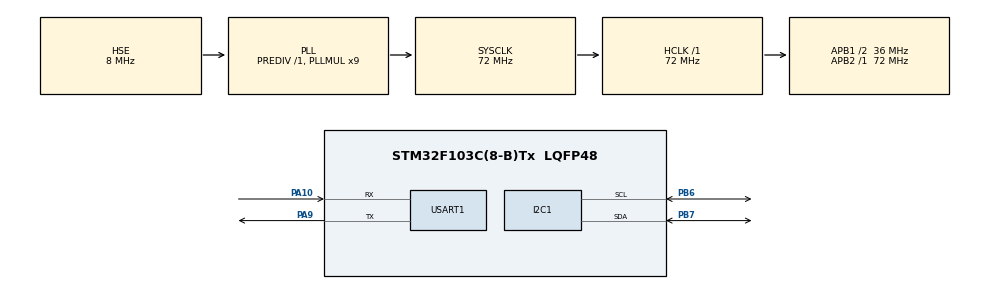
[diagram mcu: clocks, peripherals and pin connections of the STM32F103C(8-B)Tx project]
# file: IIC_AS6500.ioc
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Mcu.Family=STM32F1
Mcu.Name=STM32F103C(8-B)Tx
Mcu.Package=LQFP48
NVIC.PriorityGroup=NVIC_PRIORITYGROUP_4
PA10.Mode=Asynchronous
PA10.Signal=USART1_RX
PA13.Mode=Serial_Wire
PA13.Signal=SYS_JTMS-SWDIO
PA14.Mode=Serial_Wire
PA14.Signal=SYS_JTCK-SWCLK
PA9.Mode=Asynchronous
PA9.Signal=USART1_TX
PB6.Mode=I2C
PB6.Signal=I2C1_SCL
PB7.Mode=I2C
PB7.Signal=I2C1_SDA
PD0-OSC_IN.Mode=HSE-External-Oscillator
PD0-OSC_IN.Signal=RCC_OSC_IN
PD1-OSC_OUT.Mode=HSE-External-Oscillator
PD1-OSC_OUT.Signal=RCC_OSC_OUT
ProjectManager.HeapSize=0x200
ProjectManager.StackSize=0x400
ProjectManager.TargetToolchain=MDK-ARM V5.27
RCC.AHBFreq_Value=72000000
RCC.APB1CLKDivider=RCC_HCLK_DIV2
RCC.APB1Freq_Value=36000000
RCC.APB1TimFreq_Value=72000000
RCC.APB2Freq_Value=72000000
RCC.APB2TimFreq_Value=72000000
RCC.HCLKFreq_Value=72000000
RCC.PLLMUL=RCC_PLL_MUL9
RCC.PLLSourceVirtual=RCC_PLLSOURCE_HSE
RCC.SYSCLKFreq_VALUE=72000000
RCC.SYSCLKSource=RCC_SYSCLKSOURCE_PLLCLK
RCC.USBFreq_Value=72000000
USART1.VirtualMode=VM_ASYNC
board=custom

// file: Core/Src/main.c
/* USER CODE BEGIN Header */
/**
  ******************************************************************************
  * @file           : main.c
  * @brief          : Main program body
  ******************************************************************************
  * @attention
  *
  * <h2><center>&copy; Copyright (c) 2024 STMicroelectronics.
  * All rights reserved.</center></h2>
  *
  * This software component is licensed by ST under BSD 3-Clause license,
  * the "License"; You may not use this file except in compliance with the
  * License. You may obtain a copy of the License at:
  *                        opensource.org/licenses/BSD-3-Clause
  *
  ******************************************************************************
  */
/* USER CODE END Header */
#include "main.h"

I2C_HandleTypeDef hi2c1;

UART_HandleTypeDef huart1;

void SystemClock_Config(void);
static void MX_GPIO_Init(void);
static void MX_I2C1_Init(void);
static void MX_USART1_UART_Init(void);

/* USER CODE BEGIN 0 */
#include <stdio.h>
 //重定向c库函数printf到串口USARTx，重定向后可使用printf函数
 int fputc(int ch, FILE *f)
 {
     /* 发送一个字节数据到串口USARTx */
     HAL_UART_Transmit(&huart1, (uint8_t *)&ch, 1, 0xFFFF);
     return (ch);
 }

 //重定向c库函数scanf到串口USARTx，重写向后可使用scanf、getchar等函数
 int fgetc(FILE *f)
 {
     int ch;
     /* 等待串口输入数据 */
     while (__HAL_UART_GET_FLAG(&huart1, UART_FLAG_RXNE) == RESET);
     HAL_UART_Receive(&huart1, (uint8_t *)&ch, 1, 0xFFFF);
     return (ch);
 }

 void ShowHex(uint8_t *buf,uint8_t len)
{
    uint8_t i;
    printf("hex = ");
    for( i = 0; i < len; i++){
        printf(" %02X",buf[i]); //使用前导0补齐
        //printf(" %2X",buf[i]);  //使用前导空格补齐
        //printf(" %X",buf[i]);  //输出最短的16进制格式
    }
    printf( "\r\n");
}

/* USER CODE END 0 */

int main(void)
{

  /* MCU Configuration--------------------------------------------------------*/

  /* Reset of all peripherals, Initializes the Flash interface and the Systick. */
  HAL_Init();

  /* Configure the system clock */
  SystemClock_Config();

  /* Initialize all configured peripherals */
  MX_GPIO_Init();
  MX_I2C1_Init();
  MX_USART1_UART_Init();
  /* USER CODE BEGIN 2 */

    //HAL_I2C_Mem_Write( &hi2c1, 0x36, 0X0E, I2C_MEMADD_SIZE_8BIT, data1, 1, 50 ) ;	//使能
  /* USER CODE END 2 */

  /* Infinite loop */
  /* USER CODE BEGIN WHILE */
  while (1)
  {
      uint16_t jiaodu = 0;
      uint8_t I2C_Buffer_Read[4] ={0};
      uint8_t I2C_Buffer_Read_big[20] = {0};
      HAL_I2C_Mem_Read(&hi2c1, 0x6c,0x0C,I2C_MEMADD_SIZE_8BIT,I2C_Buffer_Read,4,50);
      //12位的数据处理成 角度数据
         jiaodu = I2C_Buffer_Read[0] << 8;
        jiaodu = jiaodu | I2C_Buffer_Read[1];
        jiaodu = jiaodu * 0.08789;
      printf("%u,",jiaodu);
     // ShowHex(I2C_Buffer_Read,4);
      HAL_Delay(50);
    /* USER CODE END WHILE */

  }
}

void SystemClock_Config(void)
{
  RCC_OscInitTypeDef RCC_OscInitStruct = {0};
  RCC_ClkInitTypeDef RCC_ClkInitStruct = {0};

  /** Initializes the RCC Oscillators according to the specified parameters
  * in the RCC_OscInitTypeDef structure.
  */
  RCC_OscInitStruct.OscillatorType = RCC_OSCILLATORTYPE_HSE;
  RCC_OscInitStruct.HSEState = RCC_HSE_ON;
  RCC_OscInitStruct.HSEPredivValue = RCC_HSE_PREDIV_DIV1;
  RCC_OscInitStruct.HSIState = RCC_HSI_ON;
  RCC_OscInitStruct.PLL.PLLState = RCC_PLL_ON;
  RCC_OscInitStruct.PLL.PLLSource = RCC_PLLSOURCE_HSE;
  RCC_OscInitStruct.PLL.PLLMUL = RCC_PLL_MUL9;
  if (HAL_RCC_OscConfig(&RCC_OscInitStruct) != HAL_OK)
  {
    Error_Handler();
  }
  /** Initializes the CPU, AHB and APB buses clocks
  */
  RCC_ClkInitStruct.ClockType = RCC_CLOCKTYPE_HCLK|RCC_CLOCKTYPE_SYSCLK
                              |RCC_CLOCKTYPE_PCLK1|RCC_CLOCKTYPE_PCLK2;
  RCC_ClkInitStruct.SYSCLKSource = RCC_SYSCLKSOURCE_PLLCLK;
  RCC_ClkInitStruct.AHBCLKDivider = RCC_SYSCLK_DIV1;
  RCC_ClkInitStruct.APB1CLKDivider = RCC_HCLK_DIV2;
  RCC_ClkInitStruct.APB2CLKDivider = RCC_HCLK_DIV1;

  if (HAL_RCC_ClockConfig(&RCC_ClkInitStruct, FLASH_LATENCY_2) != HAL_OK)
  {
    Error_Handler();
  }
}

static void MX_I2C1_Init(void)
{

  hi2c1.Instance = I2C1;
  hi2c1.Init.ClockSpeed = 100000;
  hi2c1.Init.DutyCycle = I2C_DUTYCYCLE_2;
  hi2c1.Init.OwnAddress1 = 0;
  hi2c1.Init.AddressingMode = I2C_ADDRESSINGMODE_7BIT;
  hi2c1.Init.DualAddressMode = I2C_DUALADDRESS_DISABLE;
  hi2c1.Init.OwnAddress2 = 0;
  hi2c1.Init.GeneralCallMode = I2C_GENERALCALL_DISABLE;
  hi2c1.Init.NoStretchMode = I2C_NOSTRETCH_DISABLE;
  if (HAL_I2C_Init(&hi2c1) != HAL_OK)
  {
    Error_Handler();
  }

}

static void MX_USART1_UART_Init(void)
{

  huart1.Instance = USART1;
  huart1.Init.BaudRate = 115200;
  huart1.Init.WordLength = UART_WORDLENGTH_8B;
  huart1.Init.StopBits = UART_STOPBITS_1;
  huart1.Init.Parity = UART_PARITY_NONE;
  huart1.Init.Mode = UART_MODE_TX_RX;
  huart1.Init.HwFlowCtl = UART_HWCONTROL_NONE;
  huart1.Init.OverSampling = UART_OVERSAMPLING_16;
  if (HAL_UART_Init(&huart1) != HAL_OK)
  {
    Error_Handler();
  }

}

static void MX_GPIO_Init(void)
{

  /* GPIO Ports Clock Enable */
  __HAL_RCC_GPIOD_CLK_ENABLE();
  __HAL_RCC_GPIOA_CLK_ENABLE();
  __HAL_RCC_GPIOB_CLK_ENABLE();

}

void Error_Handler(void)
{
  __disable_irq();
  while (1)
  {
  }
}

/************************ (C) COPYRIGHT STMicroelectronics *****END OF FILE****/
